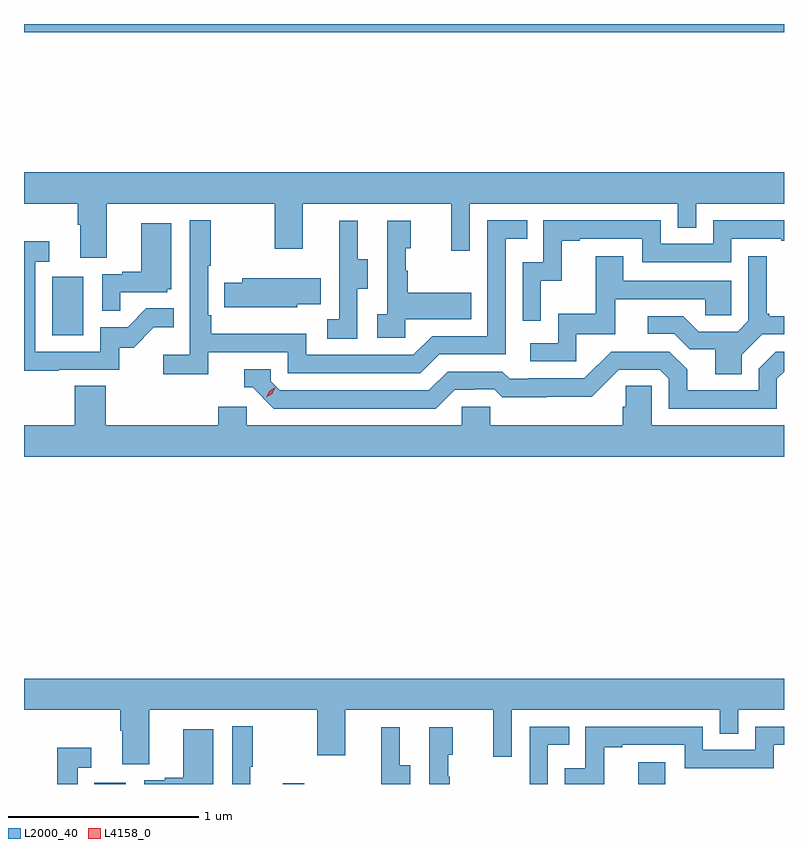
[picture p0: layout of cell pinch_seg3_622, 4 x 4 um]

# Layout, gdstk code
import gdstk
lib = gdstk.Library(unit=1e-6, precision=1e-09)
def R(c, l, rs):  # rectangles x0, y0, x1, y1
    for r in rs: c.add(gdstk.rectangle(r[:2], r[2:], *l))
def P(c, l, *ps):  # polygons
    for p in ps: c.add(gdstk.Polygon(p, *l))
L2000_40 = (2000, 40)
L4158_0 = (4158, 0)

pinch_seg3_622 = lib.new_cell('pinch_seg3_622')
R(pinch_seg3_622, L2000_40, [(1018.91,677.881,1019.074,677.887), (1019.901,677.881,1020.013,677.886), (1021.771,677.881,1021.915,677.995), (1018.688,680.244,1018.852,680.551), (1018.539,681.838,1022.539,681.881)])
P(pinch_seg3_622, L2000_40, [(1018.975,680.936),(1019.86,680.936),(1019.86,680.697),(1020.007,680.697),(1020.007,680.936),(1020.788,680.936),(1020.788,680.688),(1020.885,680.688),(1020.885,680.936),(1021.98,680.936),(1021.98,680.809),(1022.076,680.809),(1022.076,680.936),(1022.539,680.936),(1022.539,681.1),(1018.539,681.1),(1018.539,680.936),(1018.823,680.936),(1018.823,680.824),(1018.835,680.824),(1018.835,680.65),(1018.975,680.65)],
  [(1019.51,680.154),(1019.928,680.154),(1019.928,680.043),(1020.625,680.043),(1020.724,680.142),(1021.074,680.142),(1021.074,680.751),(1021.187,680.751),(1021.187,680.847),(1020.978,680.847),(1020.978,680.238),(1020.687,680.238),(1020.588,680.139),(1020.024,680.139),(1020.024,680.251),(1019.525,680.251),(1019.525,680.347),(1019.508,680.347),(1019.508,680.608),(1019.521,680.608),(1019.521,680.848),(1019.412,680.848),(1019.412,680.14),(1019.271,680.14),(1019.271,680.038),(1019.51,680.038)],
  [(1021.26,680.531),(1021.37,680.531),(1021.37,680.739),(1021.465,680.739),(1021.465,680.751),(1021.794,680.751),(1021.794,680.628),(1022.262,680.628),(1022.262,680.751),(1022.525,680.751),(1022.525,680.739),(1022.539,680.739),(1022.539,680.847),(1022.166,680.847),(1022.166,680.724),(1021.89,680.724),(1021.89,680.847),(1021.272,680.847),(1021.272,680.628),(1021.164,680.628),(1021.164,680.319),(1021.26,680.319)],
  [(1020.546,680.327),(1020.893,680.327),(1020.893,680.467),(1020.559,680.467),(1020.559,680.582),(1020.549,680.582),(1020.549,680.7),(1020.574,680.7),(1020.574,680.845),(1020.45,680.845),(1020.45,680.354),(1020.399,680.354),(1020.399,680.229),(1020.546,680.229)],
  [(1020.294,680.488),(1020.349,680.488),(1020.349,680.643),(1020.295,680.643),(1020.295,680.845),(1020.197,680.845),(1020.197,680.631),(1020.198,680.631),(1020.198,680.327),(1020.135,680.327),(1020.135,680.224),(1020.294,680.224)],
  [(1019.045,680.469),(1019.292,680.469),(1019.292,680.484),(1019.314,680.484),(1019.314,680.833),(1019.156,680.833),(1019.156,680.578),(1019.057,680.578),(1019.057,680.565),(1018.95,680.565),(1018.95,680.371),(1019.045,680.371)],
  [(1018.721,680.061),(1019.04,680.061),(1019.04,680.178),(1019.116,680.178),(1019.223,680.285),(1019.327,680.285),(1019.327,680.384),(1019.183,680.384),(1019.085,680.286),(1018.941,680.286),(1018.941,680.157),(1018.599,680.157),(1018.599,680.631),(1018.672,680.631),(1018.672,680.737),(1018.539,680.737),(1018.539,680.056),(1018.721,680.056)],
  [(1022.317,680.14),(1022.424,680.247),(1022.539,680.247),(1022.539,680.344),(1022.461,680.344),(1022.461,680.356),(1022.449,680.356),(1022.449,680.659),(1022.352,680.659),(1022.352,680.319),(1022.295,680.262),(1022.089,680.262),(1022.008,680.343),(1021.821,680.343),(1021.821,680.25),(1021.962,680.25),(1022.042,680.17),(1022.177,680.17),(1022.177,680.038),(1022.317,680.038)],
  [(1021.446,680.247),(1021.651,680.247),(1021.651,680.433),(1022.125,680.433),(1022.125,680.349),(1022.262,680.349),(1022.262,680.529),(1021.693,680.529),(1021.693,680.659),(1021.549,680.659),(1021.549,680.356),(1021.35,680.356),(1021.35,680.202),(1021.203,680.202),(1021.203,680.106),(1021.446,680.106)],
  [(1019.976,680.405),(1020.101,680.405),(1020.101,680.542),(1019.687,680.542),(1019.687,680.52),(1019.593,680.52),(1019.593,680.391),(1019.704,680.391),(1019.704,680.39),(1019.976,680.39)],
  [(1020.805,679.956),(1020.912,679.956),(1020.912,679.959),(1021.015,679.959),(1021.057,679.917),(1021.29,679.917),(1021.29,679.919),(1021.526,679.919),(1021.668,680.061),(1021.884,680.061),(1021.932,680.013),(1021.932,679.857),(1022.502,679.857),(1022.502,680.013),(1022.539,680.05),(1022.539,680.157),(1022.496,680.157),(1022.406,680.067),(1022.406,679.953),(1022.029,679.953),(1022.029,680.063),(1021.935,680.157),(1021.629,680.157),(1021.488,680.016),(1021.195,680.016),(1021.195,680.013),(1021.096,680.013),(1021.057,680.052),(1020.768,680.052),(1020.669,679.953),(1019.886,679.953),(1019.838,680.001),(1019.838,680.064),(1019.699,680.064),(1019.699,679.968),(1019.742,679.968),(1019.853,679.857),(1020.706,679.857)],
  [(1022.539,679.768),(1021.842,679.768),(1021.842,679.976),(1021.705,679.976),(1021.705,679.866),(1021.691,679.866),(1021.691,679.768),(1020.993,679.768),(1020.993,679.866),(1020.843,679.866),(1020.843,679.768),(1019.712,679.768),(1019.712,679.866),(1019.561,679.866),(1019.561,679.768),(1018.97,679.768),(1018.97,679.976),(1018.805,679.976),(1018.805,679.768),(1018.539,679.768),(1018.539,679.604),(1022.539,679.604)],
  [(1019.197,678.272),(1020.082,678.272),(1020.082,678.033),(1020.229,678.033),(1020.229,678.272),(1021.01,678.272),(1021.01,678.024),(1021.107,678.024),(1021.107,678.272),(1022.202,678.272),(1022.202,678.145),(1022.298,678.145),(1022.298,678.272),(1022.539,678.272),(1022.539,678.436),(1018.539,678.436),(1018.539,678.272),(1019.045,678.272),(1019.045,678.16),(1019.057,678.16),(1019.057,677.986),(1019.197,677.986)],
  [(1019.731,677.971),(1019.743,677.971),(1019.743,678.184),(1019.634,678.184),(1019.634,677.881),(1019.731,677.881)],
  [(1021.296,678.087),(1021.409,678.087),(1021.409,678.183),(1021.2,678.183),(1021.2,677.881),(1021.296,677.881)],
  [(1021.592,678.075),(1021.687,678.075),(1021.687,678.087),(1022.016,678.087),(1022.016,677.964),(1022.484,677.964),(1022.484,678.087),(1022.539,678.087),(1022.539,678.183),(1022.388,678.183),(1022.388,678.06),(1022.112,678.06),(1022.112,678.183),(1021.494,678.183),(1021.494,677.964),(1021.386,677.964),(1021.386,677.881),(1021.592,677.881)],
  [(1020.781,677.918),(1020.771,677.918),(1020.771,678.036),(1020.796,678.036),(1020.796,678.181),(1020.672,678.181),(1020.672,677.881),(1020.781,677.881)],
  [(1020.571,677.979),(1020.517,677.979),(1020.517,678.181),(1020.419,678.181),(1020.419,677.967),(1020.42,677.967),(1020.42,677.881),(1020.571,677.881)],
  [(1019.536,678.169),(1019.378,678.169),(1019.378,677.914),(1019.279,677.914),(1019.279,677.901),(1019.172,677.901),(1019.172,677.881),(1019.536,677.881)],
  [(1018.821,677.967),(1018.894,677.967),(1018.894,678.073),(1018.713,678.073),(1018.713,677.881),(1018.821,677.881)])
P(pinch_seg3_622, L4158_0, [(1019.814,679.916),(1019.814,679.916),(1019.83,679.949),(1019.861,679.968),(1019.861,679.968),(1019.861,679.967),(1019.845,679.935),(1019.814,679.916)])

lib.write_gds('pinch_seg3_622.gds')
